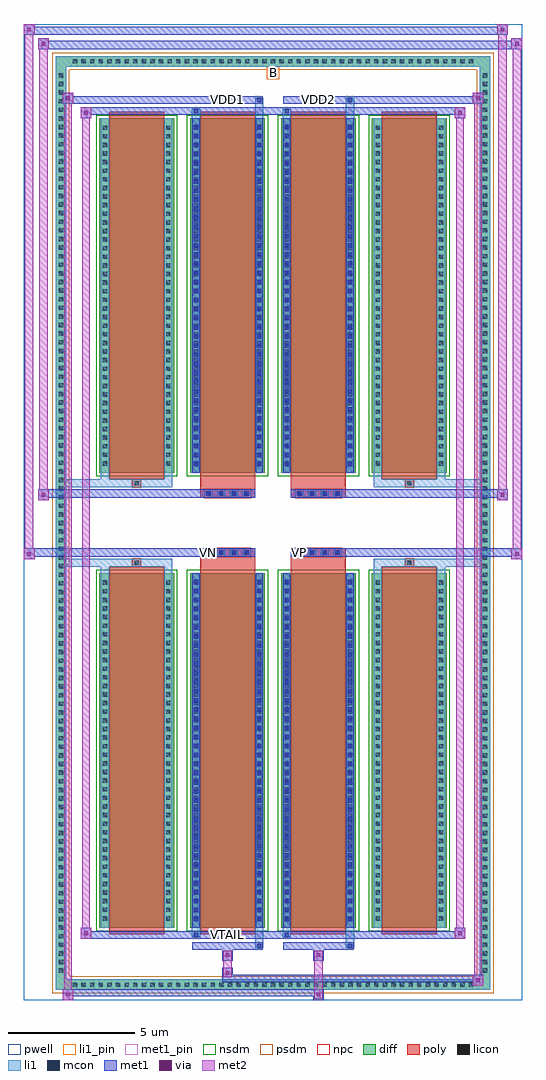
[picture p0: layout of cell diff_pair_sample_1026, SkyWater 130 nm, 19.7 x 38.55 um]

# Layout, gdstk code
import gdstk
lib = gdstk.Library(unit=1e-6, precision=5e-09)
def R(c, l, rs):  # rectangles x0, y0, x1, y1
    for r in rs: c.add(gdstk.rectangle(r[:2], r[2:], *l))
def A(c, l, x, y, w, h, nx, ny, dx, dy):  # array of equal rectangles
    R(c, l, [(x+i*dx, y+j*dy, x+i*dx+w, y+j*dy+h) for i in range(nx) for j in range(ny)])
def P(c, l, *ps):  # polygons
    for p in ps: c.add(gdstk.Polygon(p, *l))
pwell = (64, 44)
diff = (65, 20)
poly = (66, 20)
licon = (66, 44)
li1_pin = (67, 16)
li1 = (67, 20)
mcon = (67, 44)
met1_pin = (68, 16)
met1 = (68, 20)
via = (68, 44)
met2 = (69, 20)
nsdm = (93, 44)
psdm = (94, 20)
npc = (95, 20)

diff_pair_sample_1026 = lib.new_cell('diff_pair_sample_1026')
R(diff_pair_sample_1026, pwell, [(-9.85,-18.84,9.85,19.71), (-7.17,-17.03,-0.01,-0.805), (0.01,-17.03,7.17,-0.805), (-7.17,0.805,-0.01,17.03), (0.01,0.805,7.17,17.03)])
A(diff_pair_sample_1026, diff, -8.025, -18.44, 0.41, 0.41, 47, 2, 0.34, 36.47)
A(diff_pair_sample_1026, diff, -8.58, -17.885, 0.41, 0.41, 1, 105, 0, 0.34)
A(diff_pair_sample_1026, diff, 8.17, -17.885, 0.41, 0.41, 1, 105, 0, 0.34)
A(diff_pair_sample_1026, diff, -6.86, -15.985, 2.95, 14, 4, 2, 3.59, 17.97)
R(diff_pair_sample_1026, diff, [(-8.025,-18.44,8.025,-18.03), (-8.58,-17.885,-8.17,17.885), (8.17,-17.885,8.58,17.885), (-8.025,18.03,8.025,18.44)])
P(diff_pair_sample_1026, diff, [(8.58,18.44),(-8.58,18.44),(-8.58,-18.03),(-8.17,-18.03),(-8.17,18.03),(8.17,18.03),(8.17,-18.03),(-8.17,-18.03),(-8.58,-18.03),(-8.58,-18.44),(8.58,-18.44)])
A(diff_pair_sample_1026, poly, -6.47, -16.235, 2.17, 14.5, 4, 2, 3.59, 17.97)
A(diff_pair_sample_1026, poly, -2.71, -1.335, 0.33, 0.33, 4, 2, 0.5, 2.34)
A(diff_pair_sample_1026, poly, 0.88, -1.335, 0.33, 0.33, 4, 2, 0.5, 2.34)
R(diff_pair_sample_1026, poly, [(-5.55,-1.735,-5.22,-1.405), (-5.55,-1.735,-5.22,-1.405), (-2.88,-1.735,-0.71,-1.335), (0.71,-1.735,2.88,-1.335), (5.22,-1.735,5.55,-1.405), (5.22,-1.735,5.55,-1.405), (-2.88,-1.335,-0.71,-1.005), (0.71,-1.335,2.88,-1.005), (-2.88,1.005,-0.71,1.335), (0.71,1.005,2.88,1.335), (-2.88,1.335,-0.71,1.735), (0.71,1.335,2.88,1.735), (-5.55,1.405,-5.22,1.735), (-5.55,1.405,-5.22,1.735), (5.22,1.405,5.55,1.735), (5.22,1.405,5.55,1.735)])
A(diff_pair_sample_1026, licon, -7.905, -18.32, 0.17, 0.17, 47, 2, 0.34, 36.47)
A(diff_pair_sample_1026, licon, -8.46, -17.765, 0.17, 0.17, 1, 105, 0, 0.34)
A(diff_pair_sample_1026, licon, 8.29, -17.765, 0.17, 0.17, 1, 105, 0, 0.34)
A(diff_pair_sample_1026, licon, -6.72, -15.7, 0.17, 0.17, 1, 40, 0, 0.34)
A(diff_pair_sample_1026, licon, -4.22, -15.7, 0.17, 0.17, 1, 40, 0, 0.34)
A(diff_pair_sample_1026, licon, -3.13, -15.7, 0.17, 0.17, 1, 40, 0, 0.34)
A(diff_pair_sample_1026, licon, -0.63, -15.7, 0.17, 0.17, 1, 40, 0, 0.34)
A(diff_pair_sample_1026, licon, 0.46, -15.7, 0.17, 0.17, 1, 40, 0, 0.34)
A(diff_pair_sample_1026, licon, 2.96, -15.7, 0.17, 0.17, 1, 40, 0, 0.34)
A(diff_pair_sample_1026, licon, 4.05, -15.7, 0.17, 0.17, 1, 40, 0, 0.34)
A(diff_pair_sample_1026, licon, 6.55, -15.7, 0.17, 0.17, 1, 40, 0, 0.34)
A(diff_pair_sample_1026, licon, -2.63, -1.255, 0.17, 0.17, 4, 2, 0.5, 2.34)
A(diff_pair_sample_1026, licon, 0.96, -1.255, 0.17, 0.17, 4, 2, 0.5, 2.34)
A(diff_pair_sample_1026, licon, -6.72, 2.27, 0.17, 0.17, 1, 40, 0, 0.34)
A(diff_pair_sample_1026, licon, -4.22, 2.27, 0.17, 0.17, 1, 40, 0, 0.34)
A(diff_pair_sample_1026, licon, -3.13, 2.27, 0.17, 0.17, 1, 40, 0, 0.34)
A(diff_pair_sample_1026, licon, -0.63, 2.27, 0.17, 0.17, 1, 40, 0, 0.34)
A(diff_pair_sample_1026, licon, 0.46, 2.27, 0.17, 0.17, 1, 40, 0, 0.34)
A(diff_pair_sample_1026, licon, 2.96, 2.27, 0.17, 0.17, 1, 40, 0, 0.34)
A(diff_pair_sample_1026, licon, 4.05, 2.27, 0.17, 0.17, 1, 40, 0, 0.34)
A(diff_pair_sample_1026, licon, 6.55, 2.27, 0.17, 0.17, 1, 40, 0, 0.34)
R(diff_pair_sample_1026, licon, [(-5.47,-1.655,-5.3,-1.485), (5.3,-1.655,5.47,-1.485), (-5.47,1.485,-5.3,1.655), (5.3,1.485,5.47,1.655)])
R(diff_pair_sample_1026, li1_pin, [(-0.25,17.53,0.25,18.03)])
A(diff_pair_sample_1026, li1, -7.985, -18.4, 0.33, 0.33, 47, 2, 0.34, 36.47)
A(diff_pair_sample_1026, li1, -8.54, -17.845, 0.33, 0.33, 1, 105, 0, 0.34)
A(diff_pair_sample_1026, li1, 8.21, -17.845, 0.33, 0.33, 1, 105, 0, 0.34)
A(diff_pair_sample_1026, li1, -6.8, -15.78, 0.33, 0.33, 1, 40, 0, 0.34)
A(diff_pair_sample_1026, li1, -4.3, -15.78, 0.33, 0.33, 1, 40, 0, 0.34)
A(diff_pair_sample_1026, li1, -3.21, -15.78, 0.33, 0.33, 1, 40, 0, 0.34)
A(diff_pair_sample_1026, li1, -0.71, -15.78, 0.33, 0.33, 1, 40, 0, 0.34)
A(diff_pair_sample_1026, li1, 0.38, -15.78, 0.33, 0.33, 1, 40, 0, 0.34)
A(diff_pair_sample_1026, li1, 2.88, -15.78, 0.33, 0.33, 1, 40, 0, 0.34)
A(diff_pair_sample_1026, li1, 3.97, -15.78, 0.33, 0.33, 1, 40, 0, 0.34)
A(diff_pair_sample_1026, li1, 6.47, -15.78, 0.33, 0.33, 1, 40, 0, 0.34)
A(diff_pair_sample_1026, li1, -3.13, -15.73, 0.17, 0.17, 1, 38, 0, 0.36)
A(diff_pair_sample_1026, li1, -0.63, -15.73, 0.17, 0.17, 1, 38, 0, 0.36)
A(diff_pair_sample_1026, li1, 0.46, -15.73, 0.17, 0.17, 1, 38, 0, 0.36)
A(diff_pair_sample_1026, li1, 2.96, -15.73, 0.17, 0.17, 1, 38, 0, 0.36)
A(diff_pair_sample_1026, li1, -2.71, -1.335, 0.33, 0.33, 4, 2, 0.5, 2.34)
A(diff_pair_sample_1026, li1, 0.88, -1.335, 0.33, 0.33, 4, 2, 0.5, 2.34)
A(diff_pair_sample_1026, li1, -6.8, 2.19, 0.33, 0.33, 1, 40, 0, 0.34)
A(diff_pair_sample_1026, li1, -4.3, 2.19, 0.33, 0.33, 1, 40, 0, 0.34)
A(diff_pair_sample_1026, li1, -3.21, 2.19, 0.33, 0.33, 1, 40, 0, 0.34)
A(diff_pair_sample_1026, li1, -0.71, 2.19, 0.33, 0.33, 1, 40, 0, 0.34)
A(diff_pair_sample_1026, li1, 0.38, 2.19, 0.33, 0.33, 1, 40, 0, 0.34)
A(diff_pair_sample_1026, li1, 2.88, 2.19, 0.33, 0.33, 1, 40, 0, 0.34)
A(diff_pair_sample_1026, li1, 3.97, 2.19, 0.33, 0.33, 1, 40, 0, 0.34)
A(diff_pair_sample_1026, li1, 6.47, 2.19, 0.33, 0.33, 1, 40, 0, 0.34)
A(diff_pair_sample_1026, li1, -3.13, 2.24, 0.17, 0.17, 1, 38, 0, 0.36)
A(diff_pair_sample_1026, li1, -0.63, 2.24, 0.17, 0.17, 1, 38, 0, 0.36)
A(diff_pair_sample_1026, li1, 0.46, 2.24, 0.17, 0.17, 1, 38, 0, 0.36)
A(diff_pair_sample_1026, li1, 2.96, 2.24, 0.17, 0.17, 1, 38, 0, 0.36)
R(diff_pair_sample_1026, li1, [(-8.58,-18.44,-8.17,-18.03), (-8.58,-18.44,-8.17,-18.03), (-8.17,-18.44,8.17,-18.03), (8.17,-18.44,8.58,-18.03), (8.17,-18.44,8.58,-18.03), (-8.58,-18.03,-8.17,18.03), (8.17,-18.03,8.58,18.03), (-0.71,-16.79,-0.38,-15.985), (-0.63,-16.79,-0.46,-16.62), (2.88,-16.79,3.21,-15.985), (2.96,-16.79,3.13,-16.62), (-3.21,-16.36,-2.88,-15.985), (-3.13,-16.36,-2.96,-16.19), (0.38,-16.36,0.71,-15.985), (0.46,-16.36,0.63,-16.19), (-6.8,-15.985,-6.47,-1.985), (-4.3,-15.985,-3.97,-1.985), (-3.21,-15.985,-2.88,-1.985), (-0.71,-15.985,-0.38,-1.985), (0.38,-15.985,0.71,-1.985), (2.88,-15.985,3.21,-1.985), (3.97,-15.985,4.3,-1.985), (6.47,-15.985,6.8,-1.985), (-3.13,-15.73,-2.96,-2.24), (-0.63,-15.73,-0.46,-2.24), (0.46,-15.73,0.63,-2.24), (2.96,-15.73,3.13,-2.24), (-6.8,-1.985,-6.47,-1.405), (-4.3,-1.985,-3.97,-1.405), (3.97,-1.985,4.3,-1.405), (6.47,-1.985,6.8,-1.405), (-8.58,-1.735,-5.55,-1.405), (-6.8,-1.735,-5.55,-1.405), (-5.55,-1.735,-5.22,-1.405), (-5.22,-1.735,-3.97,-1.405), (3.97,-1.735,5.22,-1.405), (5.22,-1.735,5.55,-1.405), (5.22,-1.735,8.58,-1.405), (5.55,-1.735,6.8,-1.405), (-8.58,1.405,-5.55,1.735), (-6.8,1.405,-5.55,1.735), (-6.8,1.405,-6.47,1.985), (-5.55,1.405,-5.22,1.735), (-5.22,1.405,-3.97,1.735), (-4.3,1.405,-3.97,1.985), (3.97,1.405,5.22,1.735), (3.97,1.405,4.3,1.985), (5.22,1.405,5.55,1.735), (5.22,1.405,8.58,1.735), (5.55,1.405,6.8,1.735), (6.47,1.405,6.8,1.985), (-6.8,1.985,-6.47,15.985), (-4.3,1.985,-3.97,15.985), (-3.21,1.985,-2.88,15.985), (-0.71,1.985,-0.38,15.985), (0.38,1.985,0.71,15.985), (2.88,1.985,3.21,15.985), (3.97,1.985,4.3,15.985), (6.47,1.985,6.8,15.985), (-3.13,2.24,-2.96,15.73), (-0.63,2.24,-0.46,15.73), (0.46,2.24,0.63,15.73), (2.96,2.24,3.13,15.73), (-3.21,15.985,-2.88,16.36), (-0.71,15.985,-0.38,16.79), (0.38,15.985,0.71,16.36), (2.88,15.985,3.21,16.79), (-3.13,16.19,-2.96,16.36), (0.46,16.19,0.63,16.36), (-0.63,16.62,-0.46,16.79), (2.96,16.62,3.13,16.79), (-8.58,18.03,-8.17,18.44), (-8.58,18.03,-8.17,18.44), (-8.17,18.03,8.17,18.44), (8.17,18.03,8.58,18.44), (8.17,18.03,8.58,18.44)])
A(diff_pair_sample_1026, mcon, -3.13, -15.73, 0.17, 0.17, 1, 38, 0, 0.36)
A(diff_pair_sample_1026, mcon, -0.63, -15.73, 0.17, 0.17, 1, 38, 0, 0.36)
A(diff_pair_sample_1026, mcon, 0.46, -15.73, 0.17, 0.17, 1, 38, 0, 0.36)
A(diff_pair_sample_1026, mcon, 2.96, -15.73, 0.17, 0.17, 1, 38, 0, 0.36)
A(diff_pair_sample_1026, mcon, -2.63, -1.255, 0.17, 0.17, 4, 2, 0.5, 2.34)
A(diff_pair_sample_1026, mcon, 0.96, -1.255, 0.17, 0.17, 4, 2, 0.5, 2.34)
A(diff_pair_sample_1026, mcon, -3.13, 2.24, 0.17, 0.17, 1, 38, 0, 0.36)
A(diff_pair_sample_1026, mcon, -0.63, 2.24, 0.17, 0.17, 1, 38, 0, 0.36)
A(diff_pair_sample_1026, mcon, 0.46, 2.24, 0.17, 0.17, 1, 38, 0, 0.36)
A(diff_pair_sample_1026, mcon, 2.96, 2.24, 0.17, 0.17, 1, 38, 0, 0.36)
R(diff_pair_sample_1026, mcon, [(-0.63,-16.79,-0.46,-16.62), (2.96,-16.79,3.13,-16.62), (-3.13,-16.36,-2.96,-16.19), (0.46,-16.36,0.63,-16.19), (-3.13,16.19,-2.96,16.36), (0.46,16.19,0.63,16.36), (-0.63,16.62,-0.46,16.79), (2.96,16.62,3.13,16.79)])
R(diff_pair_sample_1026, met1_pin, [(-1.93,-16.4,-1.66,-16.13), (-2.68,-1.295,-2.41,-1.025), (0.91,-1.295,1.18,-1.025), (-1.93,16.58,-1.66,16.85), (1.66,16.58,1.93,16.85)])
A(diff_pair_sample_1026, met1, -3.19, -15.79, 0.29, 0.29, 1, 38, 0, 0.36)
A(diff_pair_sample_1026, met1, -0.69, -15.79, 0.29, 0.29, 1, 38, 0, 0.36)
A(diff_pair_sample_1026, met1, 0.4, -15.79, 0.29, 0.29, 1, 38, 0, 0.36)
A(diff_pair_sample_1026, met1, 2.9, -15.79, 0.29, 0.29, 1, 38, 0, 0.36)
A(diff_pair_sample_1026, met1, -2.69, -1.315, 0.29, 0.29, 4, 2, 0.5, 2.34)
A(diff_pair_sample_1026, met1, 0.9, -1.315, 0.29, 0.29, 4, 2, 0.5, 2.34)
A(diff_pair_sample_1026, met1, -3.19, 2.18, 0.29, 0.29, 1, 38, 0, 0.36)
A(diff_pair_sample_1026, met1, -0.69, 2.18, 0.29, 0.29, 1, 38, 0, 0.36)
A(diff_pair_sample_1026, met1, 0.4, 2.18, 0.29, 0.29, 1, 38, 0, 0.36)
A(diff_pair_sample_1026, met1, 2.9, 2.18, 0.29, 0.29, 1, 38, 0, 0.36)
R(diff_pair_sample_1026, met1, [(-8.31,-18.84,-7.88,-18.41), (1.58,-18.84,2.01,-18.41), (-8.31,-18.7,2.01,-18.41), (7.88,-18.27,8.31,-17.84), (-2.01,-18.13,8.31,-17.84), (-2.01,-17.99,-1.58,-17.56), (-2.01,-17.28,-1.58,-16.85), (1.58,-17.28,2.01,-16.85), (-3.19,-16.85,-0.4,-16.56), (-0.69,-16.85,-0.4,-16.56), (0.4,-16.85,3.19,-16.56), (2.9,-16.85,3.19,-16.56), (-7.6,-16.42,-7.17,-15.99), (-7.6,-16.42,-3.19,-16.13), (-3.19,-16.42,-2.9,-16.13), (-3.19,-16.42,-0.4,-16.13), (-0.4,-16.42,0.4,-16.13), (0.4,-16.42,0.69,-16.13), (0.4,-16.42,3.19,-16.13), (3.19,-16.42,7.6,-16.13), (7.17,-16.42,7.6,-15.99), (-3.19,-15.985,-2.9,-1.985), (-0.69,-15.985,-0.4,-1.985), (0.4,-15.985,0.69,-1.985), (2.9,-15.985,3.19,-1.985), (-9.85,-1.435,-9.42,-1.005), (9.42,-1.435,9.85,-1.005), (-9.85,-1.335,-0.71,-1.005), (-2.88,-1.335,-0.71,-1.005), (0.71,-1.335,2.88,-1.005), (0.71,-1.335,9.85,-1.005), (-9.28,0.905,-8.85,1.335), (8.85,0.905,9.28,1.335), (-9.28,1.005,-2.88,1.335), (-2.88,1.005,-0.71,1.335), (0.71,1.005,2.88,1.335), (2.88,1.005,9.28,1.335), (-3.19,1.985,-2.9,15.985), (-0.69,1.985,-0.4,15.985), (0.4,1.985,0.69,15.985), (2.9,1.985,3.19,15.985), (-7.6,15.99,-7.17,16.42), (7.17,15.99,7.6,16.42), (-7.6,16.13,-3.19,16.42), (-3.19,16.13,-2.9,16.42), (-3.19,16.13,-0.4,16.42), (-0.4,16.13,0.4,16.42), (0.4,16.13,0.69,16.42), (0.4,16.13,3.19,16.42), (3.19,16.13,7.6,16.42), (-8.31,16.56,-7.88,16.99), (-8.31,16.56,-3.19,16.85), (-3.19,16.56,-0.4,16.85), (-0.69,16.56,-0.4,16.85), (0.4,16.56,3.19,16.85), (2.9,16.56,3.19,16.85), (3.19,16.56,8.31,16.85), (7.88,16.56,8.31,16.99), (-9.28,18.71,-8.85,19.14), (-9.28,18.71,-7.17,19.04), (-7.17,18.71,7.17,19.04), (7.17,18.71,9.85,19.04), (9.42,18.71,9.85,19.14), (-9.85,19.28,-9.42,19.71), (-9.85,19.28,-7.17,19.61), (-7.17,19.28,7.17,19.61), (7.17,19.28,9.28,19.61), (8.85,19.28,9.28,19.71)])
R(diff_pair_sample_1026, via, [(-8.17,-18.7,-8.02,-18.55), (1.72,-18.7,1.87,-18.55), (8.02,-18.13,8.17,-17.98), (-1.87,-17.85,-1.72,-17.7), (-1.87,-17.14,-1.72,-16.99), (1.72,-17.14,1.87,-16.99), (-7.46,-16.28,-7.31,-16.13), (7.31,-16.28,7.46,-16.13), (-9.71,-1.295,-9.56,-1.145), (9.56,-1.295,9.71,-1.145), (-9.14,1.045,-8.99,1.195), (8.99,1.045,9.14,1.195), (-7.46,16.13,-7.31,16.28), (7.31,16.13,7.46,16.28), (-8.17,16.7,-8.02,16.85), (8.02,16.7,8.17,16.85), (-9.14,18.85,-8.99,19), (9.56,18.85,9.71,19), (-9.71,19.42,-9.56,19.57), (8.99,19.42,9.14,19.57)])
R(diff_pair_sample_1026, met2, [(-8.31,-18.84,-7.88,-18.41), (-8.24,-18.84,-7.95,16.99), (-7.95,-18.84,-7.88,-18.41), (-8.26,-18.79,-7.93,-18.46), (1.63,-18.79,1.96,-18.46), (1.63,-18.46,1.96,-17.23), (7.88,-18.27,8.31,-17.84), (7.95,-18.27,8.24,16.99), (8.24,-18.27,8.31,-17.84), (7.93,-18.22,8.26,-17.89), (-1.96,-17.94,-1.63,-17.61), (-1.96,-17.61,-1.63,-17.23), (-1.96,-17.23,-1.63,-16.9), (1.63,-17.23,1.96,-16.9), (-7.6,-16.42,-7.17,-15.99), (-7.53,-16.42,-7.24,16.42), (-7.24,-16.42,-7.17,-15.99), (7.17,-16.42,7.6,-15.99), (7.24,-16.42,7.53,16.42), (7.53,-16.42,7.6,-15.99), (-7.55,-16.37,-7.22,-16.04), (7.22,-16.37,7.55,-16.04), (-9.85,-1.435,-9.42,-1.005), (-9.8,-1.435,-9.47,19.71), (-9.47,-1.435,-9.42,-1.005), (9.42,-1.435,9.85,-1.005), (9.47,-1.435,9.8,19.14), (9.8,-1.435,9.85,-1.005), (-9.8,-1.385,-9.47,-1.055), (9.47,-1.385,9.8,-1.055), (-9.28,0.905,-8.85,1.335), (-9.23,0.905,-8.9,19.14), (-8.9,0.905,-8.85,1.335), (8.85,0.905,9.28,1.335), (8.9,0.905,9.23,19.71), (9.23,0.905,9.28,1.335), (-9.23,0.955,-8.9,1.285), (8.9,0.955,9.23,1.285), (-7.6,15.99,-7.17,16.42), (-7.24,15.99,-7.17,16.42), (7.17,15.99,7.6,16.42), (7.53,15.99,7.6,16.42), (-7.55,16.04,-7.22,16.37), (7.22,16.04,7.55,16.37), (-8.31,16.56,-7.88,16.99), (-7.95,16.56,-7.88,16.99), (7.88,16.56,8.31,16.99), (8.24,16.56,8.31,16.99), (-8.26,16.61,-7.93,16.94), (7.93,16.61,8.26,16.94), (-9.28,18.71,-8.85,19.14), (-8.9,18.71,-8.85,19.14), (9.42,18.71,9.85,19.14), (9.8,18.71,9.85,19.14), (-9.23,18.76,-8.9,19.09), (9.47,18.76,9.8,19.09), (-9.85,19.28,-9.42,19.71), (-9.47,19.28,-9.42,19.71), (8.85,19.28,9.28,19.71), (9.23,19.28,9.28,19.71), (-9.8,19.33,-9.47,19.66), (8.9,19.33,9.23,19.66)])
A(diff_pair_sample_1026, nsdm, -6.99, -16.115, 3.21, 14.26, 4, 2, 3.59, 17.97)
P(diff_pair_sample_1026, psdm, [(8.71,18.57),(-8.71,18.57),(-8.71,-17.9),(-8.04,-17.9),(-8.04,17.9),(8.04,17.9),(8.04,-17.9),(-8.04,-17.9),(-8.71,-17.9),(-8.71,-18.57),(8.71,-18.57)])
A(diff_pair_sample_1026, npc, -2.73, -1.355, 0.37, 0.37, 4, 2, 0.5, 2.34)
A(diff_pair_sample_1026, npc, 0.86, -1.355, 0.37, 0.37, 4, 2, 0.5, 2.34)
R(diff_pair_sample_1026, npc, [(-5.57,-1.755,-5.2,-1.385), (5.2,-1.755,5.57,-1.385), (-2.73,-1.355,-1.86,-0.985), (-2.73,-1.355,-1.86,-0.985), (-2.23,-1.355,-1.36,-0.985), (-2.23,-1.355,-1.36,-0.985), (-1.73,-1.355,-0.86,-0.985), (-1.73,-1.355,-0.86,-0.985), (0.86,-1.355,1.73,-0.985), (0.86,-1.355,1.73,-0.985), (1.36,-1.355,2.23,-0.985), (1.36,-1.355,2.23,-0.985), (1.86,-1.355,2.73,-0.985), (1.86,-1.355,2.73,-0.985), (-2.73,0.985,-1.86,1.355), (-2.73,0.985,-1.86,1.355), (-2.23,0.985,-1.36,1.355), (-2.23,0.985,-1.36,1.355), (-1.73,0.985,-0.86,1.355), (-1.73,0.985,-0.86,1.355), (0.86,0.985,1.73,1.355), (0.86,0.985,1.73,1.355), (1.36,0.985,2.23,1.355), (1.36,0.985,2.23,1.355), (1.86,0.985,2.73,1.355), (1.86,0.985,2.73,1.355), (-5.57,1.385,-5.2,1.755), (5.2,1.385,5.57,1.755)])
diff_pair_sample_1026.add(gdstk.Label('VTAIL', (-1.795,-16.265), layer=68, texttype=5))
diff_pair_sample_1026.add(gdstk.Label('VN', (-2.545,-1.16), layer=68, texttype=5))
diff_pair_sample_1026.add(gdstk.Label('VP', (1.045,-1.16), layer=68, texttype=5))
diff_pair_sample_1026.add(gdstk.Label('B', (0,17.78), layer=67, texttype=5))
diff_pair_sample_1026.add(gdstk.Label('VDD2', (1.795,16.715), layer=68, texttype=5))
diff_pair_sample_1026.add(gdstk.Label('VDD1', (-1.795,16.715), layer=68, texttype=5))

lib.write_gds('diff_pair_sample_1026.gds')
